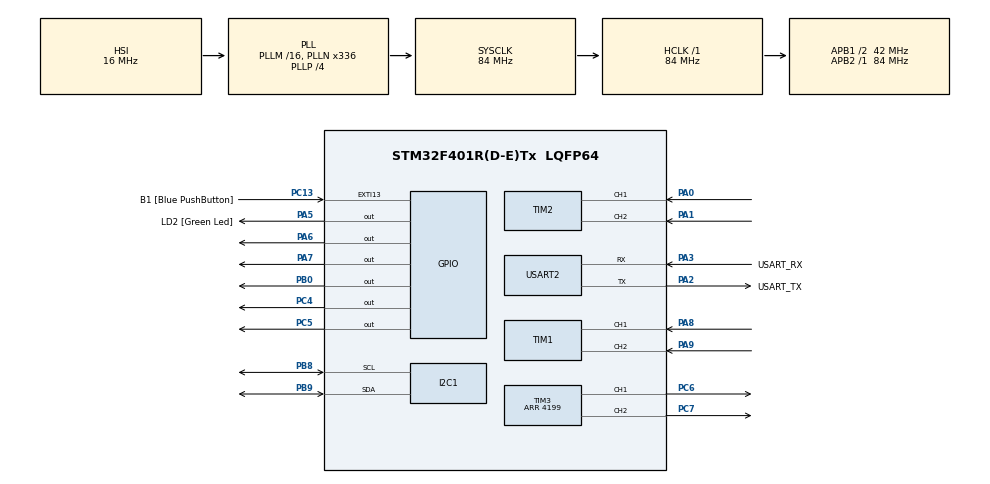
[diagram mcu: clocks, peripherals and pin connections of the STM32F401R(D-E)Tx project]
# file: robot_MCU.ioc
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Mcu.Family=STM32F4
Mcu.Name=STM32F401R(D-E)Tx
Mcu.Package=LQFP64
NVIC.PriorityGroup=NVIC_PRIORITYGROUP_4
NVIC.TIM4_IRQn=true\:0\:0\:false\:false\:true\:true\:true\:true
PA0-WKUP.Signal=S_TIM2_CH1_ETR
PA1.Signal=S_TIM2_CH2
PA13.GPIO_Label=TMS
PA13.Mode=Trace_Asynchronous_SW
PA13.Signal=SYS_JTMS-SWDIO
PA14.GPIO_Label=TCK
PA14.Mode=Trace_Asynchronous_SW
PA14.Signal=SYS_JTCK-SWCLK
PA2.GPIO_Label=USART_TX
PA2.GPIO_Mode=GPIO_MODE_AF_PP
PA2.GPIO_PuPd=GPIO_NOPULL
PA2.GPIO_Speed=GPIO_SPEED_FREQ_LOW
PA2.Mode=Asynchronous
PA2.Signal=USART2_TX
PA3.GPIO_Label=USART_RX
PA3.GPIO_Mode=GPIO_MODE_AF_PP
PA3.GPIO_PuPd=GPIO_NOPULL
PA3.GPIO_Speed=GPIO_SPEED_FREQ_LOW
PA3.Mode=Asynchronous
PA3.Signal=USART2_RX
PA5.GPIO_Label=LD2 [Green Led]
PA5.GPIO_Mode=GPIO_MODE_OUTPUT_PP
PA5.GPIO_PuPd=GPIO_NOPULL
PA5.GPIO_Speed=GPIO_SPEED_FREQ_LOW
PA5.Signal=GPIO_Output
PA6.Signal=GPIO_Output
PA7.Signal=GPIO_Output
PA8.Signal=S_TIM1_CH1
PA9.Signal=S_TIM1_CH2
PB0.Signal=GPIO_Output
PB3.GPIO_Label=SWO
PB3.Mode=Trace_Asynchronous_SW
PB3.Signal=SYS_JTDO-SWO
PB8.Mode=I2C
PB8.Signal=I2C1_SCL
PB9.Mode=I2C
PB9.Signal=I2C1_SDA
PC13-ANTI_TAMP.GPIO_Label=B1 [Blue PushButton]
PC13-ANTI_TAMP.GPIO_ModeDefaultEXTI=GPIO_MODE_IT_FALLING
PC13-ANTI_TAMP.GPIO_PuPd=GPIO_NOPULL
PC13-ANTI_TAMP.Signal=GPXTI13
PC14-OSC32_IN.Mode=LSE-External-Oscillator
PC14-OSC32_IN.Signal=RCC_OSC32_IN
PC15-OSC32_OUT.Mode=LSE-External-Oscillator
PC15-OSC32_OUT.Signal=RCC_OSC32_OUT
PC4.Signal=GPIO_Output
PC5.Signal=GPIO_Output
PC6.Signal=S_TIM3_CH1
PC7.Signal=S_TIM3_CH2
PH0\ -\ OSC_IN.Mode=HSE-External-Clock-Source
PH0\ -\ OSC_IN.Signal=RCC_OSC_IN
PH1\ -\ OSC_OUT.Mode=HSE-External-Clock-Source
PH1\ -\ OSC_OUT.Signal=RCC_OSC_OUT
ProjectManager.HeapSize=0x200
ProjectManager.StackSize=0x400
ProjectManager.TargetToolchain=STM32CubeIDE
RCC.48MHZClocksFreq_Value=48000000
RCC.AHBFreq_Value=84000000
RCC.APB1CLKDivider=RCC_HCLK_DIV2
RCC.APB1Freq_Value=42000000
RCC.APB1TimFreq_Value=84000000
RCC.APB2Freq_Value=84000000
RCC.APB2TimFreq_Value=84000000
RCC.CortexFreq_Value=84000000
RCC.HCLKFreq_Value=84000000
RCC.HSE_VALUE=8000000
RCC.HSI_VALUE=16000000
RCC.PLLN=336
RCC.PLLP=RCC_PLLP_DIV4
RCC.PLLQ=7
RCC.SYSCLKFreq_VALUE=84000000
RCC.SYSCLKSource=RCC_SYSCLKSOURCE_PLLCLK
RCC.VCOOutputFreq_Value=336000000
SH.S_TIM1_CH1.0=TIM1_CH1,Encoder_Interface
SH.S_TIM1_CH2.0=TIM1_CH2,Encoder_Interface
SH.S_TIM2_CH1_ETR.0=TIM2_CH1,Encoder_Interface
SH.S_TIM2_CH2.0=TIM2_CH2,Encoder_Interface
SH.S_TIM3_CH1.0=TIM3_CH1,PWM Generation1 CH1
SH.S_TIM3_CH2.0=TIM3_CH2,PWM Generation2 CH2
TIM1.EncoderMode=TIM_ENCODERMODE_TI12
TIM2.EncoderMode=TIM_ENCODERMODE_TI12
TIM3.Channel-PWM\ Generation1\ CH1=TIM_CHANNEL_1
TIM3.Channel-PWM\ Generation2\ CH2=TIM_CHANNEL_2
TIM3.Period=4199
TIM4.Period=99
TIM4.Prescaler=839
USART2.VirtualMode=VM_ASYNC
VP_TIM4_VS_ClockSourceINT.Mode=Internal
board=NUCLEO-F401RE

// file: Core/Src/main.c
/* USER CODE BEGIN Header */
/**
  ******************************************************************************
  * @file           : main.c
  * @brief          : Main program body
  ******************************************************************************
  * @attention
  *
  * Copyright (c) 2026 STMicroelectronics.
  * All rights reserved.
  *
  * This software is licensed under terms that can be found in the LICENSE file
  * in the root directory of this software component.
  * If no LICENSE file comes with this software, it is provided AS-IS.
  *
  ******************************************************************************
  */
/* USER CODE END Header */
#include "main.h"
#include "i2c.h"
#include "tim.h"
#include "usart.h"
#include "gpio.h"
#include "math.h"
#include "mpu6050.h"
#include <stdio.h>

void SystemClock_Config(void);

/* USER CODE BEGIN 0 */
MPU6050_t MPU6050;
double angularRotation = 0, distance = 0, velocity = 0, distancePrev = 0, thetax = 0, thetay = 0, thetaz = 0;
/* USER CODE END 0 */

int main(void)
{

  /* USER CODE BEGIN 1 */
uint8_t who_am_i, check;
uint32_t percent, encCount1, encCount2;
HAL_StatusTypeDef device_status, status;
  /* USER CODE END 1 */

  /* MCU Configuration--------------------------------------------------------*/

  /* Reset of all peripherals, Initializes the Flash interface and the Systick. */
  HAL_Init();

  /* Configure the system clock */
  SystemClock_Config();

  /* Initialize all configured peripherals */
  MX_GPIO_Init();
  MX_USART2_UART_Init();
  MX_I2C1_Init();
  MX_TIM3_Init();
  MX_TIM4_Init();
  MX_TIM1_Init();
  MX_TIM2_Init();
  /* USER CODE BEGIN 2 */
  HAL_TIM_Base_Start_IT(&htim4);
  HAL_TIM_Encoder_Start(&htim1, TIM_CHANNEL_ALL);
  HAL_TIM_Encoder_Start(&htim2, TIM_CHANNEL_ALL);

  printf("I2C state before read = %d\r\n", HAL_I2C_GetState(&hi2c1));

  device_status = HAL_I2C_IsDeviceReady(
      &hi2c1,
      0x68 << 1,
      3,
      100
  );

  printf("Device ready status = %d\r\n", device_status);

  printf("SR2 = 0x%04lX\r\n", hi2c1.Instance->SR2);

  who_am_i = 0;

  status = HAL_I2C_Mem_Read(
      &hi2c1,
      0x68 << 1,
      0x75,
      I2C_MEMADD_SIZE_8BIT,
      &who_am_i,
      1,
      HAL_MAX_DELAY
  );

  printf("I2C status = %d\r\n", status);
  printf("WHO_AM_I = 0x%02X\r\n", who_am_i);

  check = MPU6050_Init(0x00);
  if (check == MPU6050_SUCCESS){
	  printf("MPU6050 Initialization Success\n");
  }

  HAL_GPIO_WritePin(GPIOB, GPIO_PIN_0, GPIO_PIN_SET);
  __HAL_TIM_SET_COUNTER(&htim1, 0);
  /* USER CODE END 2 */

  /* Infinite loop */
  /* USER CODE BEGIN WHILE */
  while (1)
  {
	  percent = 50;
	  HAL_GPIO_WritePin(GPIOA, GPIO_PIN_6, GPIO_PIN_SET);
	  HAL_GPIO_WritePin(GPIOA, GPIO_PIN_7, GPIO_PIN_RESET);
	  TIM3->CCR3 = (percent * TIM3->ARR)/100;
	  HAL_GPIO_WritePin(GPIOC, GPIO_PIN_4, GPIO_PIN_SET);
	  HAL_GPIO_WritePin(GPIOC, GPIO_PIN_5, GPIO_PIN_RESET);
	  TIM3->CCR4 = (percent * TIM3->ARR)/100;

	  encCount1 = __HAL_TIM_GET_COUNTER(&htim1);
	  encCount2 = __HAL_TIM_GET_COUNTER(&htim2);
	  printf("Count 1 equals %lu\r\n", (unsigned long)encCount1);
	  printf("Count 2 equals %lu\r\n", (unsigned long)encCount2);
	  HAL_Delay(1000);
	  angularRotation = ((double)encCount1 / 2797) * 2*M_PI;
	  distance = angularRotation * 0.0375;
	  velocity = (distance - distancePrev) / 0.001;
	  distancePrev = distance;

    /* USER CODE END WHILE */

  }
}

void SystemClock_Config(void)
{
  RCC_OscInitTypeDef RCC_OscInitStruct = {0};
  RCC_ClkInitTypeDef RCC_ClkInitStruct = {0};

  /** Configure the main internal regulator output voltage
  */
  __HAL_RCC_PWR_CLK_ENABLE();
  __HAL_PWR_VOLTAGESCALING_CONFIG(PWR_REGULATOR_VOLTAGE_SCALE2);

  /** Initializes the RCC Oscillators according to the specified parameters
  * in the RCC_OscInitTypeDef structure.
  */
  RCC_OscInitStruct.OscillatorType = RCC_OSCILLATORTYPE_HSI;
  RCC_OscInitStruct.HSIState = RCC_HSI_ON;
  RCC_OscInitStruct.HSICalibrationValue = RCC_HSICALIBRATION_DEFAULT;
  RCC_OscInitStruct.PLL.PLLState = RCC_PLL_ON;
  RCC_OscInitStruct.PLL.PLLSource = RCC_PLLSOURCE_HSI;
  RCC_OscInitStruct.PLL.PLLM = 16;
  RCC_OscInitStruct.PLL.PLLN = 336;
  RCC_OscInitStruct.PLL.PLLP = RCC_PLLP_DIV4;
  RCC_OscInitStruct.PLL.PLLQ = 7;
  if (HAL_RCC_OscConfig(&RCC_OscInitStruct) != HAL_OK)
  {
    Error_Handler();
  }

  /** Initializes the CPU, AHB and APB buses clocks
  */
  RCC_ClkInitStruct.ClockType = RCC_CLOCKTYPE_HCLK|RCC_CLOCKTYPE_SYSCLK
                              |RCC_CLOCKTYPE_PCLK1|RCC_CLOCKTYPE_PCLK2;
  RCC_ClkInitStruct.SYSCLKSource = RCC_SYSCLKSOURCE_PLLCLK;
  RCC_ClkInitStruct.AHBCLKDivider = RCC_SYSCLK_DIV1;
  RCC_ClkInitStruct.APB1CLKDivider = RCC_HCLK_DIV2;
  RCC_ClkInitStruct.APB2CLKDivider = RCC_HCLK_DIV1;

  if (HAL_RCC_ClockConfig(&RCC_ClkInitStruct, FLASH_LATENCY_2) != HAL_OK)
  {
    Error_Handler();
  }
}

/* USER CODE BEGIN 4 */
int _write(int file, char *ptr, int len)
{
    HAL_UART_Transmit(&huart2, (uint8_t *)ptr, len, HAL_MAX_DELAY);
    return len;
}

 void HAL_TIM_PeriodElapsedCallback(TIM_HandleTypeDef *htim){
	if(htim == &htim4){
		MPU6050_Read_Accel(&MPU6050);
	    MPU6050_Read_Gyro(&MPU6050);

	    thetax += MPU6050.Gx * 0.001;
	    thetay += MPU6050.Gy * 0.001;
	    thetaz += MPU6050.Gz * 0.001;
	}
}

/* USER CODE END 4 */

void Error_Handler(void)
{
  __disable_irq();
  while (1)
  {
  }
}
